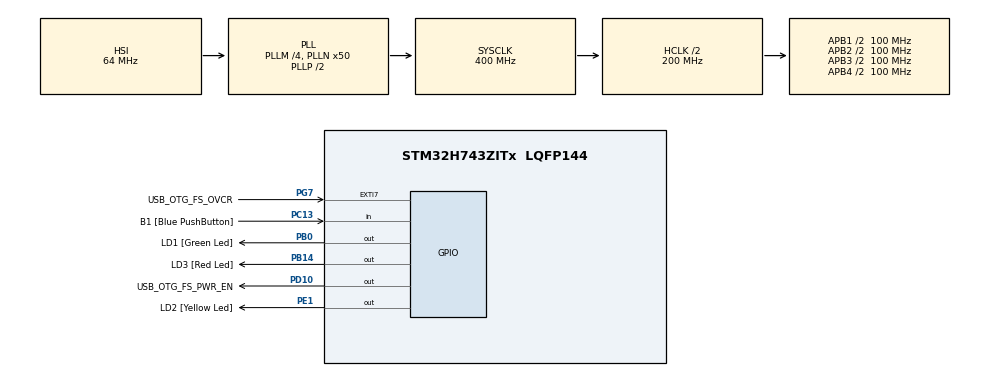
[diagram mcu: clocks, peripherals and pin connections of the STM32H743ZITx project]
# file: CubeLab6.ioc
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Mcu.Family=STM32H7
Mcu.Name=STM32H743ZITx
Mcu.Package=LQFP144
NVIC.PriorityGroup=NVIC_PRIORITYGROUP_4
PA1.Signal=ETH_REF_CLK
PA11.Signal=USB_OTG_FS_DM
PA12.Signal=USB_OTG_FS_DP
PA2.Signal=ETH_MDIO
PA7.Signal=ETH_CRS_DV
PA8.Signal=USB_OTG_FS_SOF
PA9.Signal=USB_OTG_FS_VBUS
PB0.GPIO_Label=LD1 [Green Led]
PB0.Signal=GPIO_Output
PB13.Signal=ETH_TXD1
PB14.GPIO_Label=LD3 [Red Led]
PB14.Signal=GPIO_Output
PC1.Signal=ETH_MDC
PC13.GPIO_Label=B1 [Blue PushButton]
PC13.Signal=GPIO_Input
PC14-OSC32_IN\ (OSC32_IN).Signal=RCC_OSC32_IN
PC15-OSC32_OUT\ (OSC32_OUT).Signal=RCC_OSC32_OUT
PC4.Signal=ETH_RXD0
PC5.Signal=ETH_RXD1
PD10.GPIO_Label=USB_OTG_FS_PWR_EN
PD10.Signal=GPIO_Output
PD8.GPIO_Label=STLINK_RX
PD8.Signal=USART3_TX
PD9.GPIO_Label=STLINK_TX
PD9.Signal=USART3_RX
PE1.GPIO_Label=LD2 [Yellow Led]
PE1.Signal=GPIO_Output
PG11.Signal=ETH_TX_EN
PG13.Signal=ETH_TXD0
PG7.GPIO_Label=USB_OTG_FS_OVCR
PG7.Signal=GPXTI7
PH0-OSC_IN\ (PH0).Signal=RCC_OSC_IN
PH1-OSC_OUT\ (PH1).Signal=RCC_OSC_OUT
ProjectManager.HeapSize=0x400
ProjectManager.StackSize=0x400
ProjectManager.TargetToolchain=MDK-ARM V5
RCC.ADCFreq_Value=129000000
RCC.APB1Freq_Value=100000000
RCC.APB2Freq_Value=100000000
RCC.APB3Freq_Value=100000000
RCC.APB4Freq_Value=100000000
RCC.CortexFreq_Value=400000000
RCC.D1PPRE=RCC_APB3_DIV2
RCC.D2PPRE1=RCC_APB1_DIV2
RCC.D2PPRE2=RCC_APB2_DIV2
RCC.D3PPRE=RCC_APB4_DIV2
RCC.DIVM1=4
RCC.DIVN1=50
RCC.HCLKFreq_Value=200000000
RCC.HPRE=RCC_HCLK_DIV2
RCC.HSE_VALUE=8000000
RCC.PLL2FRACN=0
RCC.PLL3FRACN=0
RCC.PLLFRACN=0
RCC.PWR_Regulator_Voltage_Scale=PWR_REGULATOR_VOLTAGE_SCALE0
RCC.SYSCLKFreq_VALUE=400000000
RCC.SYSCLKSource=RCC_SYSCLKSOURCE_PLLCLK
RCC.USBFreq_Value=400000000
board=NUCLEO-H743ZI2

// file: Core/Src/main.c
/* USER CODE BEGIN Header */
/**
  ******************************************************************************
  * @file           : main.c
  * @brief          : Main program body
  ******************************************************************************
  * @attention
  *
  * <h2><center>&copy; Copyright (c) 2021 STMicroelectronics.
  * All rights reserved.</center></h2>
  *
  * This software component is licensed by ST under BSD 3-Clause license,
  * the "License"; You may not use this file except in compliance with the
  * License. You may obtain a copy of the License at:
  *                        opensource.org/licenses/BSD-3-Clause
  *
  ******************************************************************************
  */
/* USER CODE END Header */
#include "main.h"

/* USER CODE BEGIN Includes */

#define N_TEST_D	6
#define N_TEST_W	3
#define LOOP_in 10
#define ITER_in 100
#include "retar.c"
int whetstone_benchmark(int,int);
#include "..\Benchmarks\Drystone\dhry.h"
int core_main(void);											//#
float CoreMark;
//#include "whetstone_sp.c"
//#include "whetstone.c"

//int dummy(void)	{return(0);}

/* USER CODE END Includes */

void SystemClock_Config(void);
static void MX_GPIO_Init(void);

int main(void)
{
  /* USER CODE BEGIN 1 */
	uint32_t sta, fin, freq, i;
	float deltd, deltw;
  /* USER CODE END 1 */

  /* MCU Configuration--------------------------------------------------------*/

  /* Reset of all peripherals, Initializes the Flash interface and the Systick. */
  HAL_Init();

  /* Configure the system clock */
  SystemClock_Config();

  /* Initialize all configured peripherals */
  MX_GPIO_Init();
  /* USER CODE BEGIN 2 */

	NVIC_DisableIRQ(SysTick_IRQn );		// disbale SysTick interrupt - should not use HAL_Delay anymore

	HAL_GPIO_WritePin(GPIOB, GPIO_PIN_0, GPIO_PIN_SET);			// LEDs ON
	HAL_GPIO_WritePin(GPIOB, GPIO_PIN_14, GPIO_PIN_SET);
	HAL_GPIO_WritePin(GPIOE, GPIO_PIN_1, GPIO_PIN_SET);

	for (sta = HAL_GetTick(); HAL_GetTick() < sta + 1000;);

	// benchmarks execution

	initialise_benchmark();  // dhrystone only

	SCB_InvalidateICache();
	sta = HAL_GetTick(); while(HAL_GetTick() < sta + 100);
  SCB_EnableICache();		// I-Cache

	SCB_InvalidateDCache();
	sta = HAL_GetTick(); while(HAL_GetTick() < sta + 100);
  SCB_EnableDCache();		// D-Cache

	sta = HAL_GetTick(); while(HAL_GetTick() < sta + 1000);

// D(H)RYSTONE section
	for (i=0; i<10; i++)					// fill in I-cache ?
		//dhrystone_benchmark();

	sta = HAL_GetTick();
	for (i=0; i<N_TEST_D; i++)
		dhrystone_benchmark();
	fin = HAL_GetTick();
	deltd = (fin-sta) / (float) N_TEST_D;
	HAL_GPIO_WritePin(GPIOB, GPIO_PIN_14, GPIO_PIN_RESET);  // First LED OFF

	// reporting section
//	printf("Elapsed time 1,000,000 dhrystones = %d ms\n\r",deltd);
//	HAL_Delay(10);
//	printf("dhrystones per second = %f \n\r",1000000.*1000./deltd);
//	HAL_Delay(10);
//	printf("DMIPS                 = %f \n\r",1000000.*1000./(float)deltd/1757. );
//	HAL_Delay(10);
//	printf("DMIPS / MHz = %7.4f \n\r",1000000.*1000./(float)deltd/1757./ freq );

	sta = HAL_GetTick(); while(HAL_GetTick() < sta + 100);

// WHETSTONE section

	sta=HAL_GetTick();
	for (i=0; i<N_TEST_W; i++)
		whetstone_benchmark(LOOP_in,ITER_in);
	fin=HAL_GetTick();
	deltw = (fin-sta) / (float) N_TEST_W;
	HAL_GPIO_WritePin(GPIOE, GPIO_PIN_1, GPIO_PIN_RESET);		// Second LED OFF

	// reporting section
//	printf("\nMillion Whetstone instructions per second (MWIPS) = %f\n\r",100.*LOOP_in*ITER_in/deltw);
//	HAL_Delay(10);
//	printf("Elapsed time = %f s.\n\r",deltw/1000.);
//	HAL_Delay(10);
//	printf("MWIPS / MHz = %7.4f\n\r",100.*LOOP_in*ITER_in/deltw/freq);
//	HAL_Delay(10);

	sta = HAL_GetTick(); while(HAL_GetTick() < sta + 100);

	core_main();

	sta = HAL_GetTick(); while(HAL_GetTick() < sta + 100);

	freq = 2*HAL_RCC_GetHCLKFreq()/1000000;
	printf("Execution frequency HAL   = %d MHz\n\r",freq);
	sta = HAL_GetTick(); while(HAL_GetTick() < sta + 100);
	SystemCoreClockUpdate();
	printf("Execution frequency CMSIS = %d MHz\n\n\r",SystemCoreClock/1000000);
	sta = HAL_GetTick(); while(HAL_GetTick() < sta + 100);
	printf("MWIPS / MHz    = %7.4f\n\r",100.*LOOP_in*ITER_in/deltw/freq);
	sta = HAL_GetTick(); while(HAL_GetTick() < sta + 100);
	printf("DMIPS / MHz    = %7.4f \n\r",1000000.*1000./deltd/1757./ freq );
	sta = HAL_GetTick(); while(HAL_GetTick() < sta + 100);
	//printf("CoreMark = %7.4f\n\r",(float)CoreMark);
	//sta = HAL_GetTick(); while(HAL_GetTick() < sta + 100);
	printf("CoreMark / MHz = %7.4f\n\r",(float)CoreMark/(float)freq);
	sta = HAL_GetTick(); while(HAL_GetTick() < sta + 100);
	printf("\n\rThe tests are completed.\n\r");
	sta = HAL_GetTick(); while(HAL_GetTick() < sta + 100);

	HAL_GPIO_WritePin(GPIOE, GPIO_PIN_1, GPIO_PIN_RESET);	// Third LED OFF

  /* USER CODE END 2 */

  /* Infinite loop */
  /* USER CODE BEGIN WHILE */
  while (1)
  {
		HAL_GPIO_WritePin(GPIOB, GPIO_PIN_0, GPIO_PIN_SET);
		sta = HAL_GetTick(); while(HAL_GetTick() < sta + 500);
		HAL_GPIO_WritePin(GPIOB, GPIO_PIN_0, GPIO_PIN_RESET);
		sta = HAL_GetTick(); while(HAL_GetTick() < sta + 500);
//	to test the pin switching speed via HAL - in the order of 17 MHz
//		HAL_GPIO_WritePin(GPIOB, GPIO_PIN_0, GPIO_PIN_SET);
//		HAL_GPIO_WritePin(GPIOB, GPIO_PIN_0, GPIO_PIN_RESET);
//		HAL_GPIO_WritePin(GPIOB, GPIO_PIN_0, GPIO_PIN_SET);
//		HAL_GPIO_WritePin(GPIOB, GPIO_PIN_0, GPIO_PIN_RESET);
//		HAL_GPIO_WritePin(GPIOB, GPIO_PIN_0, GPIO_PIN_SET);
//		HAL_GPIO_WritePin(GPIOB, GPIO_PIN_0, GPIO_PIN_RESET);
//		HAL_GPIO_WritePin(GPIOB, GPIO_PIN_0, GPIO_PIN_SET);
//		HAL_GPIO_WritePin(GPIOB, GPIO_PIN_0, GPIO_PIN_RESET);
//		HAL_GPIO_WritePin(GPIOB, GPIO_PIN_0, GPIO_PIN_SET);
//		HAL_GPIO_WritePin(GPIOB, GPIO_PIN_0, GPIO_PIN_RESET);

    /* USER CODE END WHILE */

  }
}

void SystemClock_Config(void)
{
  RCC_OscInitTypeDef RCC_OscInitStruct = {0};
  RCC_ClkInitTypeDef RCC_ClkInitStruct = {0};

  /** Supply configuration update enable
  */
  HAL_PWREx_ConfigSupply(PWR_LDO_SUPPLY);
  /** Configure the main internal regulator output voltage
  */
  __HAL_PWR_VOLTAGESCALING_CONFIG(PWR_REGULATOR_VOLTAGE_SCALE0);

  while(!__HAL_PWR_GET_FLAG(PWR_FLAG_VOSRDY)) {}
  /** Initializes the RCC Oscillators according to the specified parameters
  * in the RCC_OscInitTypeDef structure.
  */
  RCC_OscInitStruct.OscillatorType = RCC_OSCILLATORTYPE_HSI;
  RCC_OscInitStruct.HSIState = RCC_HSI_DIV1;
  RCC_OscInitStruct.HSICalibrationValue = RCC_HSICALIBRATION_DEFAULT;
  RCC_OscInitStruct.PLL.PLLState = RCC_PLL_ON;
  RCC_OscInitStruct.PLL.PLLSource = RCC_PLLSOURCE_HSI;
  RCC_OscInitStruct.PLL.PLLM = 4;
  RCC_OscInitStruct.PLL.PLLN = 50;
  RCC_OscInitStruct.PLL.PLLP = 2;
  RCC_OscInitStruct.PLL.PLLQ = 2;
  RCC_OscInitStruct.PLL.PLLR = 2;
  RCC_OscInitStruct.PLL.PLLRGE = RCC_PLL1VCIRANGE_3;
  RCC_OscInitStruct.PLL.PLLVCOSEL = RCC_PLL1VCOWIDE;
  RCC_OscInitStruct.PLL.PLLFRACN = 0;
  if (HAL_RCC_OscConfig(&RCC_OscInitStruct) != HAL_OK)
  {
    Error_Handler();
  }
  /** Initializes the CPU, AHB and APB buses clocks
  */
  RCC_ClkInitStruct.ClockType = RCC_CLOCKTYPE_HCLK|RCC_CLOCKTYPE_SYSCLK
                              |RCC_CLOCKTYPE_PCLK1|RCC_CLOCKTYPE_PCLK2
                              |RCC_CLOCKTYPE_D3PCLK1|RCC_CLOCKTYPE_D1PCLK1;
  RCC_ClkInitStruct.SYSCLKSource = RCC_SYSCLKSOURCE_PLLCLK;
  RCC_ClkInitStruct.SYSCLKDivider = RCC_SYSCLK_DIV1;
  RCC_ClkInitStruct.AHBCLKDivider = RCC_HCLK_DIV2;
  RCC_ClkInitStruct.APB3CLKDivider = RCC_APB3_DIV2;
  RCC_ClkInitStruct.APB1CLKDivider = RCC_APB1_DIV2;
  RCC_ClkInitStruct.APB2CLKDivider = RCC_APB2_DIV2;
  RCC_ClkInitStruct.APB4CLKDivider = RCC_APB4_DIV2;

  if (HAL_RCC_ClockConfig(&RCC_ClkInitStruct, FLASH_LATENCY_2) != HAL_OK)
  {
    Error_Handler();
  }
}

static void MX_GPIO_Init(void)
{
  GPIO_InitTypeDef GPIO_InitStruct = {0};

  /* GPIO Ports Clock Enable */
  __HAL_RCC_GPIOC_CLK_ENABLE();
  __HAL_RCC_GPIOH_CLK_ENABLE();
  __HAL_RCC_GPIOA_CLK_ENABLE();
  __HAL_RCC_GPIOB_CLK_ENABLE();
  __HAL_RCC_GPIOD_CLK_ENABLE();
  __HAL_RCC_GPIOG_CLK_ENABLE();
  __HAL_RCC_GPIOE_CLK_ENABLE();

  /*Configure GPIO pin Output Level */
  HAL_GPIO_WritePin(GPIOB, LD1_Pin|LD3_Pin, GPIO_PIN_RESET);

  /*Configure GPIO pin Output Level */
  HAL_GPIO_WritePin(USB_OTG_FS_PWR_EN_GPIO_Port, USB_OTG_FS_PWR_EN_Pin, GPIO_PIN_RESET);

  /*Configure GPIO pin Output Level */
  HAL_GPIO_WritePin(LD2_GPIO_Port, LD2_Pin, GPIO_PIN_RESET);

  /*Configure GPIO pin : B1_Pin */
  GPIO_InitStruct.Pin = B1_Pin;
  GPIO_InitStruct.Mode = GPIO_MODE_INPUT;
  GPIO_InitStruct.Pull = GPIO_NOPULL;
  HAL_GPIO_Init(B1_GPIO_Port, &GPIO_InitStruct);

  /*Configure GPIO pins : PC1 PC4 PC5 */
  GPIO_InitStruct.Pin = GPIO_PIN_1|GPIO_PIN_4|GPIO_PIN_5;
  GPIO_InitStruct.Mode = GPIO_MODE_AF_PP;
  GPIO_InitStruct.Pull = GPIO_NOPULL;
  GPIO_InitStruct.Speed = GPIO_SPEED_FREQ_LOW;
  GPIO_InitStruct.Alternate = GPIO_AF11_ETH;
  HAL_GPIO_Init(GPIOC, &GPIO_InitStruct);

  /*Configure GPIO pins : PA1 PA2 PA7 */
  GPIO_InitStruct.Pin = GPIO_PIN_1|GPIO_PIN_2|GPIO_PIN_7;
  GPIO_InitStruct.Mode = GPIO_MODE_AF_PP;
  GPIO_InitStruct.Pull = GPIO_NOPULL;
  GPIO_InitStruct.Speed = GPIO_SPEED_FREQ_LOW;
  GPIO_InitStruct.Alternate = GPIO_AF11_ETH;
  HAL_GPIO_Init(GPIOA, &GPIO_InitStruct);

  /*Configure GPIO pins : LD1_Pin LD3_Pin */
  GPIO_InitStruct.Pin = LD1_Pin|LD3_Pin;
  GPIO_InitStruct.Mode = GPIO_MODE_OUTPUT_PP;
  GPIO_InitStruct.Pull = GPIO_NOPULL;
  GPIO_InitStruct.Speed = GPIO_SPEED_FREQ_LOW;
  HAL_GPIO_Init(GPIOB, &GPIO_InitStruct);

  /*Configure GPIO pin : PB13 */
  GPIO_InitStruct.Pin = GPIO_PIN_13;
  GPIO_InitStruct.Mode = GPIO_MODE_AF_PP;
  GPIO_InitStruct.Pull = GPIO_NOPULL;
  GPIO_InitStruct.Speed = GPIO_SPEED_FREQ_LOW;
  GPIO_InitStruct.Alternate = GPIO_AF11_ETH;
  HAL_GPIO_Init(GPIOB, &GPIO_InitStruct);

  /*Configure GPIO pins : STLINK_RX_Pin STLINK_TX_Pin */
  GPIO_InitStruct.Pin = STLINK_RX_Pin|STLINK_TX_Pin;
  GPIO_InitStruct.Mode = GPIO_MODE_AF_PP;
  GPIO_InitStruct.Pull = GPIO_NOPULL;
  GPIO_InitStruct.Speed = GPIO_SPEED_FREQ_LOW;
  GPIO_InitStruct.Alternate = GPIO_AF7_USART3;
  HAL_GPIO_Init(GPIOD, &GPIO_InitStruct);

  /*Configure GPIO pin : USB_OTG_FS_PWR_EN_Pin */
  GPIO_InitStruct.Pin = USB_OTG_FS_PWR_EN_Pin;
  GPIO_InitStruct.Mode = GPIO_MODE_OUTPUT_PP;
  GPIO_InitStruct.Pull = GPIO_NOPULL;
  GPIO_InitStruct.Speed = GPIO_SPEED_FREQ_LOW;
  HAL_GPIO_Init(USB_OTG_FS_PWR_EN_GPIO_Port, &GPIO_InitStruct);

  /*Configure GPIO pin : USB_OTG_FS_OVCR_Pin */
  GPIO_InitStruct.Pin = USB_OTG_FS_OVCR_Pin;
  GPIO_InitStruct.Mode = GPIO_MODE_IT_RISING;
  GPIO_InitStruct.Pull = GPIO_NOPULL;
  HAL_GPIO_Init(USB_OTG_FS_OVCR_GPIO_Port, &GPIO_InitStruct);

  /*Configure GPIO pins : PA8 PA11 PA12 */
  GPIO_InitStruct.Pin = GPIO_PIN_8|GPIO_PIN_11|GPIO_PIN_12;
  GPIO_InitStruct.Mode = GPIO_MODE_AF_PP;
  GPIO_InitStruct.Pull = GPIO_NOPULL;
  GPIO_InitStruct.Speed = GPIO_SPEED_FREQ_LOW;
  GPIO_InitStruct.Alternate = GPIO_AF10_OTG1_FS;
  HAL_GPIO_Init(GPIOA, &GPIO_InitStruct);

  /*Configure GPIO pins : PG11 PG13 */
  GPIO_InitStruct.Pin = GPIO_PIN_11|GPIO_PIN_13;
  GPIO_InitStruct.Mode = GPIO_MODE_AF_PP;
  GPIO_InitStruct.Pull = GPIO_NOPULL;
  GPIO_InitStruct.Speed = GPIO_SPEED_FREQ_LOW;
  GPIO_InitStruct.Alternate = GPIO_AF11_ETH;
  HAL_GPIO_Init(GPIOG, &GPIO_InitStruct);

  /*Configure GPIO pin : LD2_Pin */
  GPIO_InitStruct.Pin = LD2_Pin;
  GPIO_InitStruct.Mode = GPIO_MODE_OUTPUT_PP;
  GPIO_InitStruct.Pull = GPIO_NOPULL;
  GPIO_InitStruct.Speed = GPIO_SPEED_FREQ_LOW;
  HAL_GPIO_Init(LD2_GPIO_Port, &GPIO_InitStruct);

}

void Error_Handler(void)
{
  __disable_irq();
  while (1)
  {
  }
}

/************************ (C) COPYRIGHT STMicroelectronics *****END OF FILE****/
